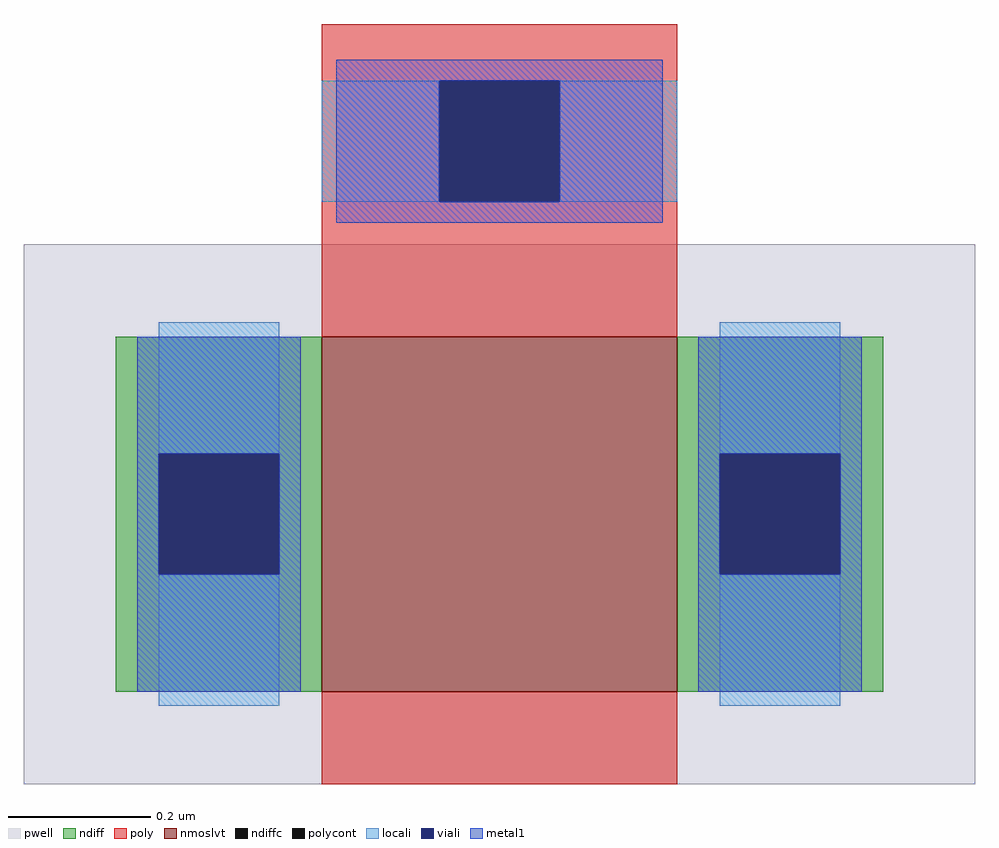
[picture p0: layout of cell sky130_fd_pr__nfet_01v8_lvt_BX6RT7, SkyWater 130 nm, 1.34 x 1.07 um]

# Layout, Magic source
magic
tech sky130A
magscale 1 2
<< pwell >>
rect -134 -107 134 45
<< nmoslvt >>
rect -50 -81 50 19
<< ndiff >>
rect -108 -14 -50 19
rect -108 -48 -96 -14
rect -62 -48 -50 -14
rect -108 -81 -50 -48
rect 50 -14 108 19
rect 50 -48 62 -14
rect 96 -48 108 -14
rect 50 -81 108 -48
<< ndiffc >>
rect -96 -48 -62 -14
rect 62 -48 96 -14
<< poly >>
rect -50 91 50 107
rect -50 57 -17 91
rect 17 57 50 91
rect -50 19 50 57
rect -50 -107 50 -81
<< polycont >>
rect -17 57 17 91
<< locali >>
rect -50 57 -17 91
rect 17 57 50 91
rect -96 -14 -62 23
rect -96 -85 -62 -48
rect 62 -14 96 23
rect 62 -85 96 -48
<< viali >>
rect -17 57 17 91
rect -96 -48 -62 -14
rect 62 -48 96 -14
<< metal1 >>
rect -46 91 46 97
rect -46 57 -17 91
rect 17 57 46 91
rect -46 51 46 57
rect -102 -14 -56 19
rect -102 -48 -96 -14
rect -62 -48 -56 -14
rect -102 -81 -56 -48
rect 56 -14 102 19
rect 56 -48 62 -14
rect 96 -48 102 -14
rect 56 -81 102 -48
<< end >>
